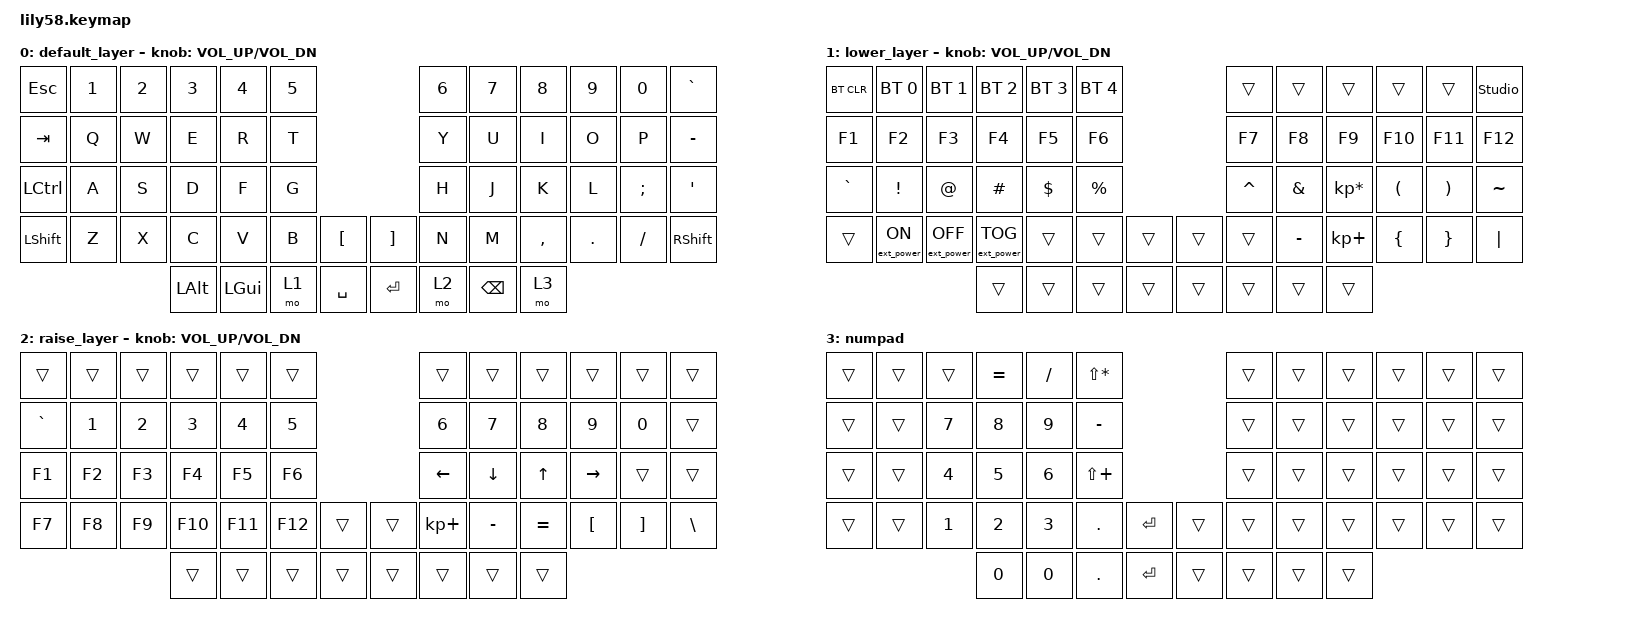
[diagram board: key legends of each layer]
/*
 * Copyright (c) 2020 The ZMK Contributors
 *
 * SPDX-License-Identifier: MIT
 */

#include <behaviors.dtsi>
#include <dt-bindings/zmk/keys.h>
#include <dt-bindings/zmk/bt.h>
#include <dt-bindings/zmk/ext_power.h>

/ {
    keymap {
        compatible = "zmk,keymap";

        default_layer {
            // ------------------------------------------------------------------------------------------------------------
            // |  ESC  |  1  |  2  |  3   |  4   |  5   |                   |  6   |  7    |  8    |  9   |   0   |   `   |
            // |  TAB  |  Q  |  W  |  E   |  R   |  T   |                   |  Y   |  U    |  I    |  O   |   P   |   -   |
            // |  CTRL |  A  |  S  |  D   |  F   |  G   |                   |  H   |  J    |  K    |  L   |   ;   |   '   |
            // | SHIFT |  Z  |  X  |  C   |  V   |  B   |   "["  |  |  "]"  |  N   |  M    |  ,    |  .   |   /   | SHIFT |
            //                     | ALT  | GUI  | LOWER|  SPACE |  | ENTER | RAISE| BSPC  | GUI   |

            bindings = <
&kp ESC    &kp N1  &kp N2  &kp N3    &kp N4    &kp N5                         &kp N6  &kp N7    &kp N8     &kp N9   &kp N0    &kp GRAVE
&kp TAB    &kp Q   &kp W   &kp E     &kp R     &kp T                          &kp Y   &kp U     &kp I      &kp O    &kp P     &kp MINUS
&kp LCTRL  &kp A   &kp S   &kp D     &kp F     &kp G                          &kp H   &kp J     &kp K      &kp L    &kp SEMI  &kp SQT
&kp LSHFT  &kp Z   &kp X   &kp C     &kp V     &kp B   &kp LBKT     &kp RBKT  &kp N   &kp M     &kp COMMA  &kp DOT  &kp FSLH  &kp RSHFT
                           &kp LALT  &kp LGUI  &mo 1   &kp SPACE    &kp RET   &mo 2   &kp BSPC  &mo 3
            >;

            sensor-bindings = <&inc_dec_kp C_VOL_UP C_VOL_DN>;
        };

        lower_layer {
            // ------------------------------------------------------------------------------------------------------------
            // | BTCLR | BT1 | BT2 |  BT3 |  BT4 |  BT5 |                   |      |       |       |      |       | Studio|
            // |  F1   |  F2 |  F3 |  F4  |  F5  |  F6  |                   |  F7  |  F8   |  F9   |  F10 |  F11  |  F12  |
            // |   `   |  !  |  @  |  #   |  $   |  %   |                   |  ^   |  &    |  *    |  (   |   )   |   ~   |
            // |       |     |     |      |      |      |        |  |       |      |  _    |  +    |  {   |   }   |  "|"  |
            //                     |      |      |      |        |  |       |      |       |       |

            bindings = <
&bt BT_CLR  &bt BT_SEL 0      &bt BT_SEL 1       &bt BT_SEL 2       &bt BT_SEL 3  &bt BT_SEL 4                    &trans     &trans     &trans           &trans    &trans    &studio_unlock
&kp F1      &kp F2            &kp F3             &kp F4             &kp F5        &kp F6                          &kp F7     &kp F8     &kp F9           &kp F10   &kp F11   &kp F12
&kp GRAVE   &kp EXCL          &kp AT             &kp HASH           &kp DOLLAR    &kp PRCNT                       &kp CARET  &kp AMPS   &kp KP_MULTIPLY  &kp LPAR  &kp RPAR  &kp TILDE
&trans      &ext_power EP_ON  &ext_power EP_OFF  &ext_power EP_TOG  &trans        &trans        &trans    &trans  &trans     &kp MINUS  &kp KP_PLUS      &kp LBRC  &kp RBRC  &kp PIPE
                                                 &trans             &trans        &trans        &trans    &trans  &trans     &trans     &trans
            >;

            sensor-bindings = <&inc_dec_kp C_VOL_UP C_VOL_DN>;
        };

        raise_layer {
            // ------------------------------------------------------------------------------------------------------------
            // |       |     |     |      |      |      |                   |      |       |       |      |       |       |
            // |   `   |  1  |  2  |  3   |  4   |  5   |                   |  6   |   7   |   8   |  9   |   0   |       |
            // |   F1  |  F2 |  F3 |  F4  |  F5  |  F6  |                   |      |   <-  |   v   |  ^   |  ->   |       |
            // |   F7  |  F8 |  F9 |  F10 |  F11 |  F12 |        |  |       |  +   |   -   |   =   |  [   |   ]   |   \   |
            //                     |      |      |      |        |  |       |      |       |       |

            bindings = <
&trans     &trans  &trans  &trans   &trans   &trans                     &trans       &trans          &trans        &trans     &trans    &trans
&kp GRAVE  &kp N1  &kp N2  &kp N3   &kp N4   &kp N5                     &kp N6       &kp N7          &kp N8        &kp N9     &kp N0    &trans
&kp F1     &kp F2  &kp F3  &kp F4   &kp F5   &kp F6                     &kp LEFT     &kp DOWN_ARROW  &kp UP_ARROW  &kp RIGHT  &trans    &trans
&kp F7     &kp F8  &kp F9  &kp F10  &kp F11  &kp F12  &trans    &trans  &kp KP_PLUS  &kp MINUS       &kp EQUAL     &kp LBKT   &kp RBKT  &kp BSLH
                           &trans   &trans   &trans   &trans    &trans  &trans       &trans          &trans
            >;

            sensor-bindings = <&inc_dec_kp C_VOL_UP C_VOL_DN>;
        };

        numpad {
            bindings = <
&trans  &trans  &trans  &kp EQUAL  &kp FSLH  &kp LS(STAR)                     &trans  &trans  &trans  &trans  &trans  &trans
&trans  &trans  &kp N7  &kp N8     &kp N9    &kp MINUS                        &trans  &trans  &trans  &trans  &trans  &trans
&trans  &trans  &kp N4  &kp N5     &kp N6    &kp LS(PLUS)                     &trans  &trans  &trans  &trans  &trans  &trans
&trans  &trans  &kp N1  &kp N2     &kp N3    &kp DOT       &kp RET    &trans  &trans  &trans  &trans  &trans  &trans  &trans
                        &kp N0     &kp N0    &kp DOT       &kp RET    &trans  &trans  &trans  &trans
            >;
        };

        extra1 {
            status = "reserved";
        };

        extra2 {
            status = "reserved";
        };
    };
};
